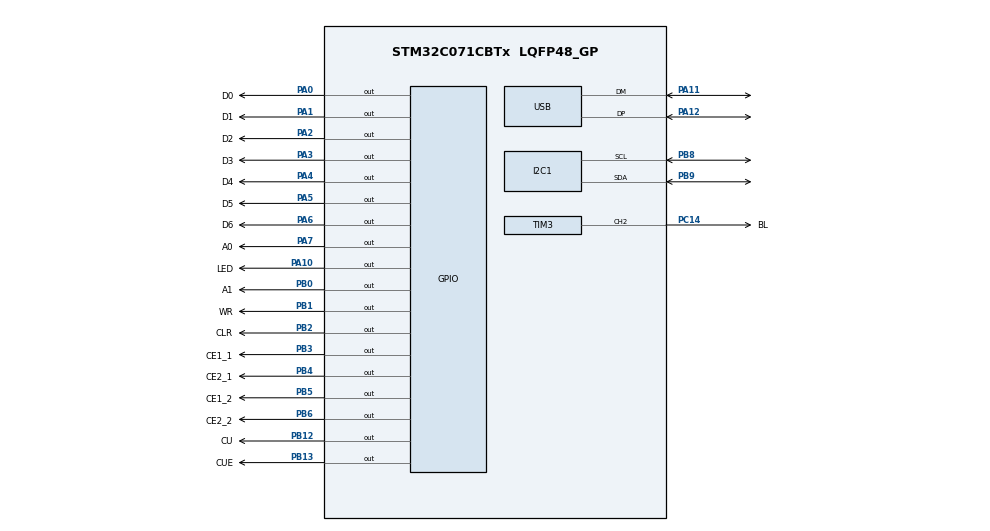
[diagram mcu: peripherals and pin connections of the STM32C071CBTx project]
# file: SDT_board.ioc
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CRC.DefaultInitValueUse=DEFAULT_INIT_VALUE_ENABLE
CRC.InputDataFormat=CRC_INPUTDATA_FORMAT_WORDS
Dma.I2C1_RX.0.Direction=DMA_PERIPH_TO_MEMORY
Dma.I2C1_RX.0.EventEnable=DISABLE
Dma.I2C1_RX.0.Instance=DMA1_Channel2
Dma.I2C1_RX.0.MemDataAlignment=DMA_MDATAALIGN_BYTE
Dma.I2C1_RX.0.MemInc=DMA_MINC_ENABLE
Dma.I2C1_RX.0.Mode=DMA_NORMAL
Dma.I2C1_RX.0.PeriphDataAlignment=DMA_PDATAALIGN_BYTE
Dma.I2C1_RX.0.PeriphInc=DMA_PINC_DISABLE
Dma.I2C1_RX.0.Polarity=HAL_DMAMUX_REQ_GEN_RISING
Dma.I2C1_RX.0.Priority=DMA_PRIORITY_LOW
Dma.I2C1_RX.0.RequestNumber=1
Dma.I2C1_RX.0.SignalID=NONE
Dma.I2C1_RX.0.SyncEnable=DISABLE
Dma.I2C1_RX.0.SyncPolarity=HAL_DMAMUX_SYNC_NO_EVENT
Dma.I2C1_RX.0.SyncRequestNumber=1
Dma.I2C1_RX.0.SyncSignalID=NONE
Dma.I2C1_TX.1.Direction=DMA_MEMORY_TO_PERIPH
Dma.I2C1_TX.1.EventEnable=DISABLE
Dma.I2C1_TX.1.Instance=DMA1_Channel1
Dma.I2C1_TX.1.MemDataAlignment=DMA_MDATAALIGN_BYTE
Dma.I2C1_TX.1.MemInc=DMA_MINC_ENABLE
Dma.I2C1_TX.1.Mode=DMA_NORMAL
Dma.I2C1_TX.1.PeriphDataAlignment=DMA_PDATAALIGN_BYTE
Dma.I2C1_TX.1.PeriphInc=DMA_PINC_DISABLE
Dma.I2C1_TX.1.Polarity=HAL_DMAMUX_REQ_GEN_RISING
Dma.I2C1_TX.1.Priority=DMA_PRIORITY_LOW
Dma.I2C1_TX.1.RequestNumber=1
Dma.I2C1_TX.1.SignalID=NONE
Dma.I2C1_TX.1.SyncEnable=DISABLE
Dma.I2C1_TX.1.SyncPolarity=HAL_DMAMUX_SYNC_NO_EVENT
Dma.I2C1_TX.1.SyncRequestNumber=1
Dma.I2C1_TX.1.SyncSignalID=NONE
Dma.Request0=I2C1_RX
Dma.Request1=I2C1_TX
I2C1.Timing=0x00402D41
Mcu.Family=STM32C0
Mcu.Name=STM32C071CBTx
Mcu.Package=LQFP48_GP
NVIC.DMA1_Channel1_IRQn=true\:0\:0\:false\:false\:true\:false\:true\:true
NVIC.DMA1_Channel2_3_IRQn=true\:0\:0\:false\:false\:true\:false\:true\:true
NVIC.I2C1_IRQn=true\:0\:0\:false\:false\:true\:true\:true\:true
NVIC.USB_DRD_FS_IRQn=true\:0\:0\:false\:false\:true\:true\:true\:true
PA0.GPIO_Label=D0
PA0.Signal=GPIO_Output
PA1.GPIO_Label=D1
PA1.Signal=GPIO_Output
PA10.GPIO_Label=LED
PA10.Signal=GPIO_Output
PA11\ [PA9].Mode=Device
PA11\ [PA9].Signal=USB_DM
PA12\ [PA10].Mode=Device
PA12\ [PA10].Signal=USB_DP
PA13.Mode=Serial_Wire
PA13.Signal=DEBUG_SWDIO
PA14-BOOT0.Mode=Serial_Wire
PA14-BOOT0.Signal=DEBUG_SWCLK
PA2.GPIO_Label=D2
PA2.Signal=GPIO_Output
PA3.GPIO_Label=D3
PA3.Signal=GPIO_Output
PA4.GPIO_Label=D4
PA4.Signal=GPIO_Output
PA5.GPIO_Label=D5
PA5.Signal=GPIO_Output
PA6.GPIO_Label=D6
PA6.Signal=GPIO_Output
PA7.GPIO_Label=A0
PA7.Signal=GPIO_Output
PB0.GPIO_Label=A1
PB0.Signal=GPIO_Output
PB1.GPIO_Label=WR
PB1.Signal=GPIO_Output
PB12.GPIO_Label=CU
PB12.Signal=GPIO_Output
PB13.GPIO_Label=CUE
PB13.Signal=GPIO_Output
PB2.GPIO_Label=CLR
PB2.Signal=GPIO_Output
PB3.GPIO_Label=CE1_1
PB3.Signal=GPIO_Output
PB4.GPIO_Label=CE2_1
PB4.Signal=GPIO_Output
PB5.GPIO_Label=CE1_2
PB5.Signal=GPIO_Output
PB6.GPIO_Label=CE2_2
PB6.Signal=GPIO_Output
PB8.Mode=I2C
PB8.Signal=I2C1_SCL
PB9.Mode=I2C
PB9.Signal=I2C1_SDA
PC14-OSCX_IN(PC14).GPIO_Label=BL
PC14-OSCX_IN(PC14).Signal=S_TIM3_CH2
ProjectManager.HeapSize=0x200
ProjectManager.StackSize=0x400
ProjectManager.TargetToolchain=STM32CubeIDE
RCC.ADCFreq_Value=12000000
RCC.AHBFreq_Value=12000000
RCC.CortexFreq_Value=12000000
RCC.EXTERNAL_CLOCK_VALUE=12288000
RCC.HCLKFreq_Value=12000000
RCC.HSE_VALUE=8000000
RCC.HSI48_VALUE=48000000
RCC.HSI_VALUE=48000000
RCC.I2C1CLockSelection=RCC_I2C1CLKSOURCE_SYSCLK
RCC.LSE_VALUE=32768
RCC.SYSCLKFreq_VALUE=12000000
RCC.SYSCLKSource=RCC_SYSCLKSOURCE_HSIUSB48
RCC.SYSDIV=RCC_SYSCLK_DIV4
SH.S_TIM3_CH2.0=TIM3_CH2,PWM Generation2 CH2
TIM3.Channel-PWM\ Generation2\ CH2=TIM_CHANNEL_2
TIM3.Period=255
USB.VirtualMode=Device_Only
VP_CRC_VS_CRC.Mode=CRC_Activate
VP_RCC_USB.Mode=CRS SYNC Source USB
VP_TIM3_VS_ClockSourceINT.Mode=Internal
board=custom

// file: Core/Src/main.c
/* USER CODE BEGIN Header */
/**
  ******************************************************************************
  * @file           : main.c
  * @brief          : Main program body
  ******************************************************************************
  * @attention
  *
  * Copyright (c) 2026 STMicroelectronics.
  * All rights reserved.
  *
  * This software is licensed under terms that can be found in the LICENSE file
  * in the root directory of this software component.
  * If no LICENSE file comes with this software, it is provided AS-IS.
  *
  ******************************************************************************
  */
/* USER CODE END Header */
#include "main.h"

/* USER CODE BEGIN Includes */
#include "tusb.h"
#include <ctype.h>
#include <stdio.h>
#include "usbtmc_app.h"
#include <scpi-def.h>
#include <display.h>
#include <sensor.h>
/* USER CODE END Includes */

CRC_HandleTypeDef hcrc;

I2C_HandleTypeDef hi2c1;
DMA_HandleTypeDef hdma_i2c1_rx;
DMA_HandleTypeDef hdma_i2c1_tx;

TIM_HandleTypeDef htim3;

PCD_HandleTypeDef hpcd_USB_DRD_FS;

void SystemClock_Config(void);
static void MX_GPIO_Init(void);
static void MX_DMA_Init(void);
static void MX_I2C1_Init(void);
static void MX_TIM3_Init(void);
static void MX_USB_PCD_Init(void);
static void MX_CRC_Init(void);

int main(void)
{

  /* MCU Configuration--------------------------------------------------------*/

  /* Reset of all peripherals, Initializes the Flash interface and the Systick. */
  HAL_Init();

  /* Configure the system clock */
  SystemClock_Config();

  /* Initialize all configured peripherals */
  MX_GPIO_Init();
  MX_DMA_Init();
  MX_I2C1_Init();
  MX_TIM3_Init();
  MX_USB_PCD_Init();
  MX_CRC_Init();
  /* USER CODE BEGIN 2 */
 // AppInit();

  HAL_GPIO_WritePin(LED_GPIO_Port, LED_Pin, GPIO_PIN_SET);
  Sensor_Init(&hi2c1);
  tud_init(BOARD_TUD_RHPORT);
  SCPI_Main_Init();
  Display_Init();
  HAL_GPIO_WritePin(LED_GPIO_Port, LED_Pin, GPIO_PIN_RESET);

  /* USER CODE END 2 */

  /* Infinite loop */
  /* USER CODE BEGIN WHILE */
  while (1)
  {
	  tud_task();
	  usbtmc_app_task_iter();
	  Sensor_Task();
	  Display_task();
    /* USER CODE END WHILE */

  }
}

void SystemClock_Config(void)
{
  RCC_OscInitTypeDef RCC_OscInitStruct = {0};
  RCC_ClkInitTypeDef RCC_ClkInitStruct = {0};
  RCC_CRSInitTypeDef RCC_CRSInitStruct = {0};

  __HAL_FLASH_SET_LATENCY(FLASH_LATENCY_0);

  /** Initializes the RCC Oscillators according to the specified parameters
  * in the RCC_OscInitTypeDef structure.
  */
  RCC_OscInitStruct.OscillatorType = RCC_OSCILLATORTYPE_HSI48;
  RCC_OscInitStruct.HSI48State = RCC_HSI48_ON;

  if (HAL_RCC_OscConfig(&RCC_OscInitStruct) != HAL_OK)
  {
    Error_Handler();
  }

  /** Initializes the CPU, AHB and APB buses clocks
  */
  RCC_ClkInitStruct.ClockType = RCC_CLOCKTYPE_HCLK|RCC_CLOCKTYPE_SYSCLK
                              |RCC_CLOCKTYPE_PCLK1;
  RCC_ClkInitStruct.SYSCLKSource = RCC_SYSCLKSOURCE_HSIUSB48;
  RCC_ClkInitStruct.SYSCLKDivider = RCC_SYSCLK_DIV4;
  RCC_ClkInitStruct.AHBCLKDivider = RCC_HCLK_DIV1;
  RCC_ClkInitStruct.APB1CLKDivider = RCC_APB1_DIV1;

  if (HAL_RCC_ClockConfig(&RCC_ClkInitStruct, FLASH_LATENCY_0) != HAL_OK)
  {
    Error_Handler();
  }

  /** Enable the CRS APB clock
  */
  __HAL_RCC_CRS_CLK_ENABLE();

  /** Configures CRS
  */
  RCC_CRSInitStruct.Prescaler = RCC_CRS_SYNC_DIV1;
  RCC_CRSInitStruct.Source = RCC_CRS_SYNC_SOURCE_USB;
  RCC_CRSInitStruct.Polarity = RCC_CRS_SYNC_POLARITY_RISING;
  RCC_CRSInitStruct.ReloadValue = __HAL_RCC_CRS_RELOADVALUE_CALCULATE(48000000,1000);
  RCC_CRSInitStruct.ErrorLimitValue = 34;
  RCC_CRSInitStruct.HSI48CalibrationValue = 32;

  HAL_RCCEx_CRSConfig(&RCC_CRSInitStruct);
}

static void MX_CRC_Init(void)
{

  hcrc.Instance = CRC;
  hcrc.Init.DefaultPolynomialUse = DEFAULT_POLYNOMIAL_ENABLE;
  hcrc.Init.DefaultInitValueUse = DEFAULT_INIT_VALUE_ENABLE;
  hcrc.Init.InputDataInversionMode = CRC_INPUTDATA_INVERSION_NONE;
  hcrc.Init.OutputDataInversionMode = CRC_OUTPUTDATA_INVERSION_DISABLE;
  hcrc.InputDataFormat = CRC_INPUTDATA_FORMAT_WORDS;
  if (HAL_CRC_Init(&hcrc) != HAL_OK)
  {
    Error_Handler();
  }

}

static void MX_I2C1_Init(void)
{

  hi2c1.Instance = I2C1;
  hi2c1.Init.Timing = 0x00402D41;
  hi2c1.Init.OwnAddress1 = 0;
  hi2c1.Init.AddressingMode = I2C_ADDRESSINGMODE_7BIT;
  hi2c1.Init.DualAddressMode = I2C_DUALADDRESS_DISABLE;
  hi2c1.Init.OwnAddress2 = 0;
  hi2c1.Init.OwnAddress2Masks = I2C_OA2_NOMASK;
  hi2c1.Init.GeneralCallMode = I2C_GENERALCALL_DISABLE;
  hi2c1.Init.NoStretchMode = I2C_NOSTRETCH_DISABLE;
  if (HAL_I2C_Init(&hi2c1) != HAL_OK)
  {
    Error_Handler();
  }

  /** Configure Analogue filter
  */
  if (HAL_I2CEx_ConfigAnalogFilter(&hi2c1, I2C_ANALOGFILTER_ENABLE) != HAL_OK)
  {
    Error_Handler();
  }

  /** Configure Digital filter
  */
  if (HAL_I2CEx_ConfigDigitalFilter(&hi2c1, 0) != HAL_OK)
  {
    Error_Handler();
  }

}

static void MX_TIM3_Init(void)
{

  TIM_ClockConfigTypeDef sClockSourceConfig = {0};
  TIM_MasterConfigTypeDef sMasterConfig = {0};
  TIM_OC_InitTypeDef sConfigOC = {0};

  htim3.Instance = TIM3;
  htim3.Init.Prescaler = 0;
  htim3.Init.CounterMode = TIM_COUNTERMODE_UP;
  htim3.Init.Period = 255;
  htim3.Init.ClockDivision = TIM_CLOCKDIVISION_DIV1;
  htim3.Init.AutoReloadPreload = TIM_AUTORELOAD_PRELOAD_DISABLE;
  if (HAL_TIM_Base_Init(&htim3) != HAL_OK)
  {
    Error_Handler();
  }
  sClockSourceConfig.ClockSource = TIM_CLOCKSOURCE_INTERNAL;
  if (HAL_TIM_ConfigClockSource(&htim3, &sClockSourceConfig) != HAL_OK)
  {
    Error_Handler();
  }
  if (HAL_TIM_PWM_Init(&htim3) != HAL_OK)
  {
    Error_Handler();
  }
  sMasterConfig.MasterOutputTrigger = TIM_TRGO_RESET;
  sMasterConfig.MasterSlaveMode = TIM_MASTERSLAVEMODE_DISABLE;
  if (HAL_TIMEx_MasterConfigSynchronization(&htim3, &sMasterConfig) != HAL_OK)
  {
    Error_Handler();
  }
  sConfigOC.OCMode = TIM_OCMODE_PWM1;
  sConfigOC.Pulse = 0;
  sConfigOC.OCPolarity = TIM_OCPOLARITY_HIGH;
  sConfigOC.OCFastMode = TIM_OCFAST_DISABLE;
  if (HAL_TIM_PWM_ConfigChannel(&htim3, &sConfigOC, TIM_CHANNEL_2) != HAL_OK)
  {
    Error_Handler();
  }
  HAL_TIM_MspPostInit(&htim3);

}

static void MX_USB_PCD_Init(void)
{

  hpcd_USB_DRD_FS.Instance = USB_DRD_FS;
  hpcd_USB_DRD_FS.Init.dev_endpoints = 8;
  hpcd_USB_DRD_FS.Init.speed = USBD_FS_SPEED;
  hpcd_USB_DRD_FS.Init.phy_itface = PCD_PHY_EMBEDDED;
  hpcd_USB_DRD_FS.Init.Sof_enable = DISABLE;
  hpcd_USB_DRD_FS.Init.low_power_enable = DISABLE;
  hpcd_USB_DRD_FS.Init.lpm_enable = DISABLE;
  hpcd_USB_DRD_FS.Init.battery_charging_enable = DISABLE;
  hpcd_USB_DRD_FS.Init.vbus_sensing_enable = DISABLE;
  hpcd_USB_DRD_FS.Init.bulk_doublebuffer_enable = DISABLE;
  hpcd_USB_DRD_FS.Init.iso_singlebuffer_enable = DISABLE;
  if (HAL_PCD_Init(&hpcd_USB_DRD_FS) != HAL_OK)
  {
    Error_Handler();
  }

}

static void MX_DMA_Init(void)
{

  /* DMA controller clock enable */
  __HAL_RCC_DMA1_CLK_ENABLE();

  /* DMA interrupt init */
  /* DMA1_Channel1_IRQn interrupt configuration */
  HAL_NVIC_SetPriority(DMA1_Channel1_IRQn, 0, 0);
  HAL_NVIC_EnableIRQ(DMA1_Channel1_IRQn);
  /* DMA1_Channel2_3_IRQn interrupt configuration */
  HAL_NVIC_SetPriority(DMA1_Channel2_3_IRQn, 0, 0);
  HAL_NVIC_EnableIRQ(DMA1_Channel2_3_IRQn);

}

static void MX_GPIO_Init(void)
{
  GPIO_InitTypeDef GPIO_InitStruct = {0};

  /* GPIO Ports Clock Enable */
  __HAL_RCC_GPIOC_CLK_ENABLE();
  __HAL_RCC_GPIOA_CLK_ENABLE();
  __HAL_RCC_GPIOB_CLK_ENABLE();

  /*Configure GPIO pin Output Level */
  HAL_GPIO_WritePin(GPIOA, D0_Pin|D1_Pin|D2_Pin|D3_Pin
                          |D4_Pin|D5_Pin|D6_Pin|A0_Pin
                          |LED_Pin, GPIO_PIN_RESET);

  /*Configure GPIO pin Output Level */
  HAL_GPIO_WritePin(GPIOB, A1_Pin|WR_Pin|CLR_Pin|CU_Pin
                          |CUE_Pin|CE1_1_Pin|CE2_1_Pin|CE1_2_Pin
                          |CE2_2_Pin, GPIO_PIN_RESET);

  /*Configure GPIO pins : D0_Pin D1_Pin D2_Pin D3_Pin
                           D4_Pin D5_Pin D6_Pin A0_Pin
                           LED_Pin */
  GPIO_InitStruct.Pin = D0_Pin|D1_Pin|D2_Pin|D3_Pin
                          |D4_Pin|D5_Pin|D6_Pin|A0_Pin
                          |LED_Pin;
  GPIO_InitStruct.Mode = GPIO_MODE_OUTPUT_PP;
  GPIO_InitStruct.Pull = GPIO_NOPULL;
  GPIO_InitStruct.Speed = GPIO_SPEED_FREQ_LOW;
  HAL_GPIO_Init(GPIOA, &GPIO_InitStruct);

  /*Configure GPIO pins : A1_Pin WR_Pin CLR_Pin CU_Pin
                           CUE_Pin CE1_1_Pin CE2_1_Pin CE1_2_Pin
                           CE2_2_Pin */
  GPIO_InitStruct.Pin = A1_Pin|WR_Pin|CLR_Pin|CU_Pin
                          |CUE_Pin|CE1_1_Pin|CE2_1_Pin|CE1_2_Pin
                          |CE2_2_Pin;
  GPIO_InitStruct.Mode = GPIO_MODE_OUTPUT_PP;
  GPIO_InitStruct.Pull = GPIO_NOPULL;
  GPIO_InitStruct.Speed = GPIO_SPEED_FREQ_LOW;
  HAL_GPIO_Init(GPIOB, &GPIO_InitStruct);

}

/* USER CODE BEGIN 4 */

/**
 * @brief I2C Master Transmission Complete Callback
 * @param hi2c I2C handle
 * @retval None
 */
void HAL_I2C_MasterTxCpltCallback(I2C_HandleTypeDef *hi2c)
{
    // Route to Sensor I2C TX complete handler
    if (hi2c->Instance == I2C1)
    {
        Sensor_I2C_TxComplete_Callback();
    }
}

/**
 * @brief I2C Master Reception Complete Callback
 * @param hi2c I2C handle
 * @retval None
 */
void HAL_I2C_MasterRxCpltCallback(I2C_HandleTypeDef *hi2c)
{
    // Route to Sensor I2C RX complete handler
    if (hi2c->Instance == I2C1)
    {
        Sensor_I2C_RxComplete_Callback();
    }
}

/**
 * @brief I2C Error Callback
 * @param hi2c I2C handle
 * @retval None
 */
void HAL_I2C_ErrorCallback(I2C_HandleTypeDef *hi2c)
{
    // Route to Sensor I2C error handler
    if (hi2c->Instance == I2C1)
    {
        Sensor_I2C_Error_Callback();
    }
}
/* USER CODE END 4 */

void Error_Handler(void)
{
  __disable_irq();
  while (1)
  {
  }
}
